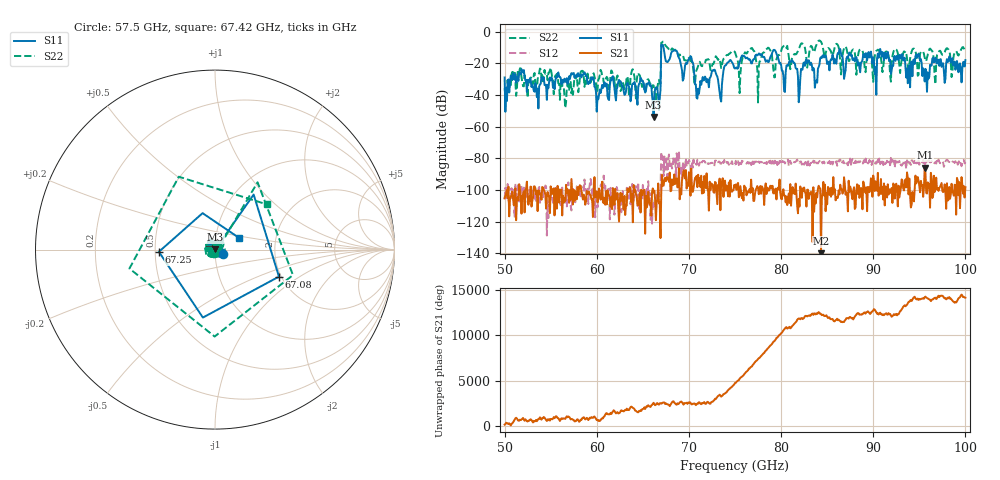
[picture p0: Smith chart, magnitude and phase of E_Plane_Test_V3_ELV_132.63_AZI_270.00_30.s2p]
! 11/26/2026 4:19:23 PM
! C:\ANRITSUVNA\TEMP\TEMP.S2P
! CHANNEL.1
! TR.MEASUREMENT
! RAW.DATA
# HZ S RI R 50.0
! FREQ.HZ  S11RE  S11IM  S21RE  S21IM  S12RE  S12IM  S22RE  S22IM
!; PortSelection: Port_12
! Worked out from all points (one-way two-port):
!   601 points, 50 GHz to 100 GHz, reference 50 ohm
!   highest |S21| = -85.90 dB at 95.58 GHz (marker M1); lowest = -140.0 dB at 84.33 GHz (marker M2)
!   lowest |S11| = -53.9 dB at 66.17 GHz (marker M3), VSWR 1.00, Z = 50.1 + j0.147 ohm
!   |S11| at or under -10 dB: start of sweep to 67 GHz; 67.25 GHz to end of sweep
!   |S22| runs from -48.3 to -5.6 dB; largest |S21 - S12| = 0.00017
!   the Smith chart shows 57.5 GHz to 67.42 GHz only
!   S11 on the Smith chart (normalised r, x): 57.5 GHz: 1.09, -0.05; 67.08 GHz: 1.95, -0.69; 67.25 GHz: 0.52, -0.01; 67.42 GHz: 1.29, +0.18
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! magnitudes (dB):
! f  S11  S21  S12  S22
! 50 GHz  -28.9  -105.2  -106.1  -35.7
! 51.67 GHz  -26.3  -99.7  -96.9  -23.2
! 57.5 GHz  -26.1  -99.9  -105.5  -34.6
! 58.42 GHz  -27.1  -103.6  -102.1  -24.7
! 60.17 GHz  -42.7  -105.5  -101.5  -30.4
! 66.17 GHz  -53.9  -101.6  -110.8  -34.0
! 66.67 GHz  -41.5  -96.0  -107.6  -31.6
! 67.08 GHz  -8.2  -90.5  -79.0  -6.8
! 67.25 GHz  -10.1  -97.3  -91.3  -6.2
! 67.42 GHz  -16.6  -92.4  -87.3  -8.3
! 70.25 GHz  -15.9  -86.5  -86.4  -18.8
! 70.92 GHz  -42.4  -98.3  -81.0  -23.1
! 75 GHz  -23.3  -98.1  -84.0  -13.0
! 79.25 GHz  -11.5  -99.8  -82.2  -28.9
! 80.25 GHz  -27.8  -99.6  -82.4  -9.3
! 83.42 GHz  -24.5  -133.0  -84.0  -10.8
! 84.33 GHz  -16.1  -140.0  -80.9  -6.4
! 91.67 GHz  -16.7  -102.9  -82.9  -15.2
! 93.75 GHz  -32.6  -92.2  -83.3  -21.3
! 94.83 GHz  -15.0  -91.9  -83.7  -27.9
! 95.58 GHz  -31.5  -85.9  -84.7  -16.4
! 100 GHz  -18.0  -98.3  -82.5  -12.6
